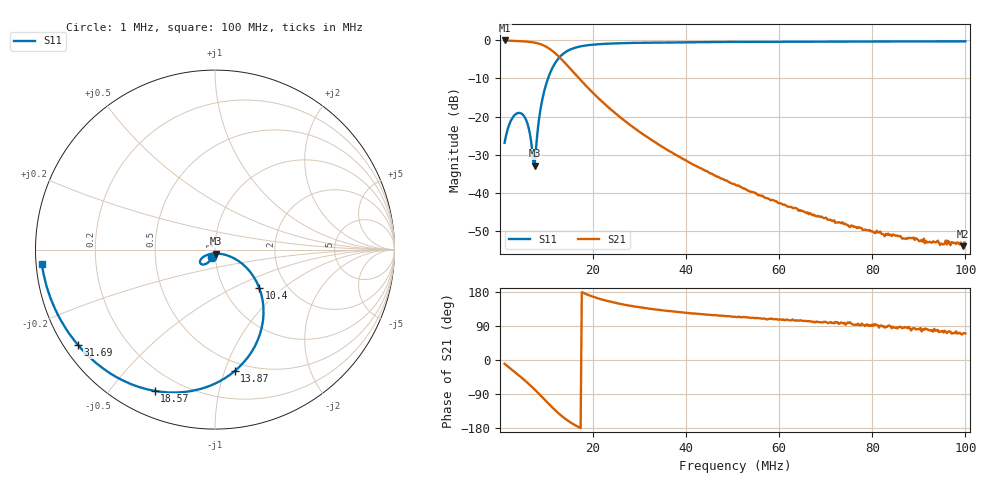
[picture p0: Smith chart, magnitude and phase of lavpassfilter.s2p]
!File created by NanoVNA
# Hz S RI R 50
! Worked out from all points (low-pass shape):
!   401 points, 1 MHz to 100 MHz, reference 50 ohm
!   highest |S21| = -0.06 dB at 1 MHz (marker M1); lowest = -53.9 dB at 99.5 MHz (marker M2)
!   |S21| within 3 dB of the highest: start of sweep to 11.54 MHz
!   lowest |S11| = -32.8 dB at 7.435 MHz (marker M3), VSWR 1.05, Z = 50.6 - j2.2 ohm
!   |S11| at or under -10 dB: start of sweep to 10.33 MHz
!   S12 and S22 are empty: the file has one direction only
!   S11 on the Smith chart (normalised r, x): 1 MHz: 0.97, -0.08; 10.4 MHz: 1.46, -0.70; 13.87 MHz: 0.42, -1.08; 18.57 MHz: 0.11, -0.66; 31.69 MHz: 0.04, -0.31; 100 MHz: 0.02, -0.04
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1000000  -0.0151 -0.043  0.978 -0.1745  0 0  0 0
2732500  -0.0539 -0.0808  0.8738 -0.4503  0 0  0 0
4465000  -0.0828 -0.0736  0.6899 -0.6839  0 0  0 0
5702500  -0.0738 -0.0482  0.5108 -0.8132  0 0  0 0
6197500  -0.0594 -0.0372  0.4286 -0.8526  0 0  0 0
6940000  -0.0251 -0.0247  0.2946 -0.8947  0 0  0 0
7435000  0.00679 -0.0218  0.1998 -0.9089  0 0  0 0
7682500  0.025 -0.023  0.1513 -0.9117  0 0  0 0
8920000  0.1322 -0.0643  -0.09 -0.8734  0 0  0 0
1.0405e7  0.2467 -0.214  -0.3302 -0.7178  0 0  0 0
1.21375e7  0.2505 -0.4711  -0.4675 -0.4576  0 0  0 0
1.387e7  0.11 -0.6769  -0.4597 -0.2282  0 0  0 0
1.75825e7  -0.2603 -0.7958  -0.2901 0.00542  0 0  0 0
1.85725e7  -0.3356 -0.7872  -0.249 0.0278  0 0  0 0
2.40175e7  -0.6 -0.6789  -0.108 0.0552  0 0  0 0
3.169e7  -0.7623 -0.5328  -0.0388 0.0374  0 0  0 0
3.4165e7  -0.7925 -0.4949  -0.0289 0.0316  0 0  0 0
5.05e7  -0.8958 -0.32  -0.00535 0.0118  0 0  0 0
6.70825e7  -0.9352 -0.2137  -0.00101 0.00504  0 0  0 0
8.3665e7  -0.9545 -0.1391  -5.43e-05 0.0028  0 0  0 0
9.9505e7  -0.9637 -0.0833  0.000694 0.0019  0 0  0 0
1e8  -0.9641 -0.0817  0.000729 0.00201  0 0  0 0
